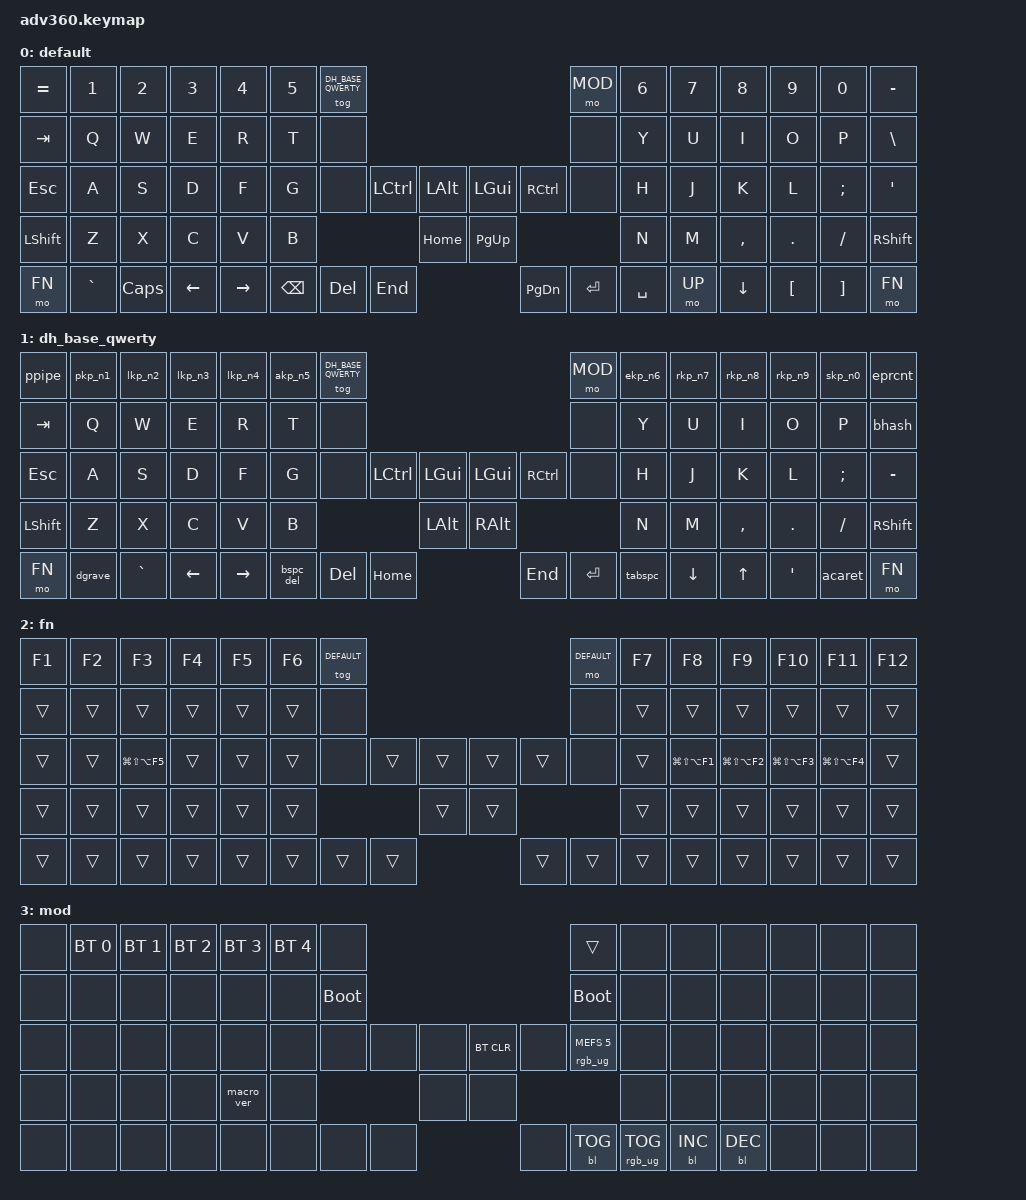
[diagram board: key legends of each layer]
#include <behaviors.dtsi>
#include <dt-bindings/zmk/keys.h>
#include <dt-bindings/zmk/bt.h>
#include <dt-bindings/zmk/rgb.h>
#include <dt-bindings/zmk/backlight.h>

#define DEFAULT 0
#define DH_BASE_QWERTY 1
#define FN 2
#define MOD 3

#define KEYS_LEFT 0 1 2 3 4 5 6 \
                  14 15 16 17 18 19 20 \
                  28 29 30 31 32 33 34 \
                  46 47 48 49 50 51 \
                  66 67 68 69 70

#define KEYS_RIGHT 7 8 9 10 11 12 13 \
                   21 22 23 24 25 26 27 \
                   39 40 41 42 43 44 45 \
                   60 61 62 63 64 65 \
                   77 78 79 80 81

#define THUMBS_LEFT 35 36 54 71 72 73

#define THUMBS_RIGHT 37 38 57 74 75 76

#define THUMBS THUMBS_LEFT THUMBS_RIGHT

/ {
    behaviors {
      #include "macros.dtsi"
      #include "version.dtsi"
      #ifndef VERSION_MACRO
      macro_ver: macro_ver {
        compatible = "zmk,behavior-macro";
        #binding-cells = <0>;
        bindings = <&kp RET>;
      };
      #endif

/* -- ` or | */
      gpipe: grave_pipe {
          compatible = "zmk,behavior-mod-morph";
          #binding-cells = <0>;
          bindings = <&kp GRAVE>, <&kp PIPE>;
          mods = <(MOD_LGUI|MOD_LSFT|MOD_RGUI|MOD_RSFT)>;
      };

/* -- | or | */
      ppipe: pipe_pipe {
          compatible = "zmk,behavior-mod-morph";
          #binding-cells = <0>;
          bindings = <&kp PIPE>, <&kp PIPE>;
          mods = <(MOD_LGUI|MOD_LSFT|MOD_RGUI|MOD_RSFT)>;
      };

/* -- + or 1 */
      pkp_n1: plus_kp_n1 {
          compatible = "zmk,behavior-mod-morph";
          #binding-cells = <0>;
          bindings = <&kp PLUS>, <&kp N1>;
          mods = <(MOD_LGUI|MOD_LSFT|MOD_RGUI|MOD_RSFT)>;
      };

/* -- [ or 2 */
      lkp_n2: left_bracket_kp_n2 {
          compatible = "zmk,behavior-mod-morph";
          #binding-cells = <0>;
          bindings = <&kp LEFT_BRACKET>, <&kp N2>;
          mods = <(MOD_LGUI|MOD_LSFT|MOD_RGUI|MOD_RSFT)>;
      };

/* -- { or 3 */
      lkp_n3: left_brace_kp_n3 {
          compatible = "zmk,behavior-mod-morph";
          #binding-cells = <0>;
          bindings = <&kp LEFT_BRACE>, <&kp N3>;
          mods = <(MOD_LGUI|MOD_LSFT|MOD_RGUI|MOD_RSFT)>;
      };

/* -- ( or 4 */
      lkp_n4: left_parenthesis_kp_n4 {
          compatible = "zmk,behavior-mod-morph";
          #binding-cells = <0>;
          bindings = <&kp LEFT_PARENTHESIS>, <&kp N4>;
          mods = <(MOD_LGUI|MOD_LSFT|MOD_RGUI|MOD_RSFT)>;
      };

/* -- & or 5 */
      akp_n5: amps_kp_n5 {
          compatible = "zmk,behavior-mod-morph";
          #binding-cells = <0>;
          bindings = <&kp AMPS>, <&kp N5>;
          mods = <(MOD_LGUI|MOD_LSFT|MOD_RGUI|MOD_RSFT)>;
      };

/* -- = or 6 */
      ekp_n6: equal_kp_n6 {
          compatible = "zmk,behavior-mod-morph";
          #binding-cells = <0>;
          bindings = <&kp EQUAL>, <&kp N6>;
          mods = <(MOD_LGUI|MOD_LSFT|MOD_RGUI|MOD_RSFT)>;
      };

/* -- ) or 7 */
      rkp_n7: right_parenthesis_kp_n7 {
          compatible = "zmk,behavior-mod-morph";
          #binding-cells = <0>;
          bindings = <&kp RIGHT_PARENTHESIS>, <&kp N7>;
          mods = <(MOD_LGUI|MOD_LSFT|MOD_RGUI|MOD_RSFT)>;
      };

/* -- } or 8 */
      rkp_n8: right_brace_kp_n8 {
          compatible = "zmk,behavior-mod-morph";
          #binding-cells = <0>;
          bindings = <&kp RIGHT_BRACE>, <&kp N8>;
          mods = <(MOD_LGUI|MOD_LSFT|MOD_RGUI|MOD_RSFT)>;
      };

/* -- ] or 9 */
      rkp_n9: right_bracket_kp_n9 {
          compatible = "zmk,behavior-mod-morph";
          #binding-cells = <0>;
          bindings = <&kp RIGHT_BRACKET>, <&kp N9>;
          mods = <(MOD_LGUI|MOD_LSFT|MOD_RGUI|MOD_RSFT)>;
      };

/* -- * or 0 */
      skp_n0: star_kp_n0 {
          compatible = "zmk,behavior-mod-morph";
          #binding-cells = <0>;
          bindings = <&kp STAR>, <&kp N0>;
          mods = <(MOD_LGUI|MOD_LSFT|MOD_RGUI|MOD_RSFT)>;
      };

/* -- ! or % */
      eprcnt: excl_prcnt {
          compatible = "zmk,behavior-mod-morph";
          #binding-cells = <0>;
          bindings = <&kp EXCL>, <&kp PRCNT>;
          mods = <(MOD_LGUI|MOD_LSFT|MOD_RGUI|MOD_RSFT)>;
      };

/* -- $ or ` */
      dgrave: dllr_grave {
          compatible = "zmk,behavior-mod-morph";
          #binding-cells = <0>;
          bindings = <&kp DLLR>, <&kp GRAVE>;
          mods = <(MOD_LGUI|MOD_LSFT|MOD_RGUI|MOD_RSFT)>;
      };

/* -- ` or ` */
      ggrave: grave_grave {
          compatible = "zmk,behavior-mod-morph";
          #binding-cells = <0>;
          bindings = <&kp GRAVE>, <&kp GRAVE>;
          mods = <(MOD_LGUI|MOD_LSFT|MOD_RGUI|MOD_RSFT)>;
      };

/* -- \ or # */
      bhash: bslh_hash {
          compatible = "zmk,behavior-mod-morph";
          #binding-cells = <0>;
          bindings = <&kp BSLH>, <&kp HASH>;
          mods = <(MOD_LGUI|MOD_LSFT|MOD_RGUI|MOD_RSFT)>;
      };

/* -- @ or ^ */
      acaret: at_caret {
          compatible = "zmk,behavior-mod-morph";
          #binding-cells = <0>;
          bindings = <&kp AT>, <&kp CARET>;
          mods = <(MOD_LGUI|MOD_LSFT|MOD_RGUI|MOD_RSFT)>;
      };

/* -- quote or left arrow */
      aposleft: apos_left {
          compatible = "zmk,behavior-mod-morph";
          #binding-cells = <0>;
          bindings = <&kp APOS>, <&kp LEFT>;
          mods = <(MOD_LGUI|MOD_LSFT|MOD_RGUI|MOD_RSFT)>;
      };

/* -- alt or right arrow */
      altright: alt_right {
          compatible = "zmk,behavior-mod-morph";
          #binding-cells = <0>;
          bindings = <&kp LALT>, <&kp RIGHT>;
          mods = <(MOD_LSFT|MOD_RSFT)>;
      };


/* LEFT_SHIFT + BACKSPACE into DELETE, and morphs RIGHT_SHIFT + BACKSPACE into RIGHT_SHIFT + DELETE. */
        bspc_del: backspace_delete {
            compatible = "zmk,behavior-mod-morph";
            #binding-cells = <0>;
            bindings = <&kp BACKSPACE>, <&kp DELETE>;
            mods = <(MOD_LSFT|MOD_RSFT)>;
            keep-mods = <(MOD_RSFT)>;
        };

/* LEFT_SHIFT + SPACE into TAB, SPACE into SPACE */
        tabspc: tab_spc {
            compatible = "zmk,behavior-mod-morph";
            #binding-cells = <0>;
            bindings = <&kp SPACE>, <&kp TAB>;
            mods = <(MOD_LSFT)>;
        };

      hm: homerow_mods {
          compatible = "zmk,behavior-hold-tap";
          label = "HOMEROW_MODS";
          #binding-cells = <2>;
          tapping-term-ms = <150>;
          quick_tap_ms = <0>;
          #flavor = "tap-preferred";
          flavor = "balanced";
          bindings = <&kp>, <&kp>;
      };

      hm_l: homerow_mods_left {
          compatible = "zmk,behavior-hold-tap";
          label = "HOMEROW_MODS_LEFT";
          #binding-cells = <2>;
          tapping-term-ms = <150>;
          quick_tap_ms = <0>;
          flavor = "tap-preferred";
          bindings = <&kp>, <&kp>;
          hold-trigger-key-positions = <KEYS_RIGHT THUMBS>;
      };

      hm_r: homerow_mods_right {
          compatible = "zmk,behavior-hold-tap";
          label = "HOMEROW_MODS_RIGHT";
          #binding-cells = <2>;
          tapping-term-ms = <150>;
          quick_tap_ms = <0>;
          flavor = "tap-preferred";
          bindings = <&kp>, <&kp>;
          hold-trigger-key-positions = <KEYS_LEFT THUMBS>;
      };
    };

  keymap {
    compatible = "zmk,keymap";

    default {
      bindings = <
        &kp EQUAL &kp N1    &kp N2   &kp N3   &kp N4     &kp N5 &tog DH_BASE_QWERTY                                                              &mo MOD   &kp N6    &kp N7    &kp N8    &kp N9   &kp N0   &kp MINUS
        &kp TAB   &kp Q     &kp W    &kp E    &kp R      &kp T  &none                                                                            &none     &kp Y     &kp U     &kp I     &kp O    &kp P    &kp BSLH
        &kp ESC   &kp A     &kp S    &kp D    &kp F      &kp G  &none                     &kp LCTRL &kp LALT &kp LGUI  &kp RCTRL                 &none     &kp H     &kp J     &kp K     &kp L    &kp SEMI &kp SQT
        &kp LSHFT &kp Z     &kp X    &kp C    &kp V      &kp B                                      &kp HOME &kp PG_UP                                     &kp N     &kp M     &kp COMMA &kp DOT  &kp FSLH &kp RSHFT
        &mo FN    &kp GRAVE &kp CAPS &kp LEFT &kp RIGHT                           &kp BSPC &kp DEL  &kp END  &kp PG_DN &kp ENTER &kp SPACE                           &mo UP    &kp DOWN  &kp LBKT &kp RBKT &mo FN
      >;
    };

    dh_base_qwerty {
      bindings = <
        &ppipe          &pkp_n1             &lkp_n2             &lkp_n3         &lkp_n4       &akp_n5        &tog DH_BASE_QWERTY                                                                  &mo MOD         &ekp_n6           &rkp_n7               &rkp_n8               &rkp_n9       &skp_n0     &eprcnt
        &kp TAB         &kp Q               &kp W               &kp E           &kp R         &kp T          &none                                                                                &none           &kp Y             &kp U                 &kp I                 &kp O         &kp P       &bhash
        &kp ESC         &kp A               &kp S               &kp D           &kp F         &kp G          &none                       &kp LCTRL  &kp LGUI  &kp LGUI  &kp RCTRL                 &none           &kp H             &kp J                 &kp K                 &kp L         &kp SEMI    &kp MINUS
        &kp LSHFT       &kp Z               &kp X               &kp C           &kp V         &kp B                                                 &kp LALT  &kp RALT                                            &kp N             &kp M                 &kp COMMA             &kp DOT       &kp FSLH    &kp RSHFT
        &mo FN          &dgrave             &kp GRAVE           &kp LEFT        &kp RIGHT                                       &bspc_del &kp DEL   &kp HOME  &kp END   &kp ENTER &tabspc                                           &kp DOWN                &kp UP              &kp APOS      &acaret     &mo FN
      >;
    };

    /* dh_base_dvorak { */
    /*   bindings = < */
    /*     &ppipe    &pkp_n1     &lkp_n2   &lkp_n3  &lkp_n4    &akp_n5 &tog &none                                                                         &mo MOD       &ekp_n6     &rkp_n7     &rkp_n8     &rkp_n9     &skp_n0   &eprcnt */
    /*     &kp TAB   &kp SEMI    &kp COMMA &kp DOT  &kp P      &kp Y   &tog DH_BASE_DVORAK                                                                          &none       &kp F       &kp G       &kp C       &kp R       &kp L     &bhash */
    /*     &kp ESC   &kp A       &kp O     &kp E    &kp U      &kp I   &none               &kp LCTRL   &kp LALT   &kp LGUI    &kp RCTRL                &none       &kp D       &kp H       &kp T       &kp N       &kp S     &kp MINUS */
    /*     &kp LSHFT &kp APOS    &kp Q     &kp J    &kp K      &kp X                                   &kp HOME   &kp PG_UP                                        &kp B       &kp M       &kp W       &kp V       &kp Z     &kp RSHFT */
    /*     &mo FN     &dgrave     &ggrave   &kp LEFT &kp RIGHT                    &kp BSPC  &kp DEL     &kp END    &kp PG_DN   &kp ENTER   &kp SPACE                            &mo 5       &kp 6       &kp FSLH    &acaret   &mo  FN */
    /*     >; */
    /* }; */

    fn {
      bindings = <
        &kp F1 &kp F2 &kp F3              &kp F4 &kp F5 &kp F6  &tog DEFAULT                                            &mo DEFAULT  &kp F7  &kp F8                  &kp F9                  &kp F10                 &kp F11             &kp F12
        &trans &trans &trans              &trans &trans &trans  &none                                                   &none        &trans  &trans                  &trans                  &trans                  &trans              &trans
        &trans &trans &kp LG(LS(LA(F5)))  &trans &trans &trans  &none                &trans &trans &trans &trans        &none        &trans  &kp LG(LS(LA(F1)))      &kp LG(LS(LA(F2)))      &kp LG(LS(LA(F3)))      &kp LG(LS(LA(F4)))  &trans
        &trans &trans &trans              &trans &trans &trans                              &trans &trans                            &trans  &trans                  &trans                  &trans                  &trans              &trans
        &trans &trans &trans              &trans &trans                       &trans &trans &trans &trans &trans &trans                      &trans                  &trans                  &trans                  &trans              &trans
      >;
    };

    mod {
      bindings = <
        &none &bt BT_SEL 0 &bt BT_SEL 1 &bt BT_SEL 2 &bt BT_SEL 3 &bt BT_SEL 4 &none                                                                     &trans                 &none        &none        &none        &none &none &none
        &none &none        &none        &none        &none        &none        &bootloader                                                               &bootloader            &none        &none        &none        &none &none &none
        &none &none        &none        &none        &none        &none        &none                   &none &none &bt BT_CLR &none                      &rgb_ug RGB_MEFS_CMD 5 &none        &none        &none        &none &none &none
        &none &none        &none        &none        &macro_ver   &none                                      &none &none                                                        &none        &none        &none        &none &none &none
        &none &none        &none        &none        &none                                       &none &none &none &none      &bl BL_TOG &rgb_ug RGB_TOG                                     &bl BL_INC   &bl BL_DEC   &none &none &none
      >;
    };

    /* dh_mod_a { */
    /*   bindings = < */
    /*     &trans                  &trans            &trans                &trans                  &trans                 &trans               &trans                                                               &trans      &trans      &trans      &trans      &trans      &trans      &trans */
    /*     &trans                  &trans            &trans                &trans                  &trans                 &trans               &trans                                                               &trans      &trans      &trans      &trans      &trans      &trans      &trans */
    /*     &trans                  &trans            &trans                &trans                  &trans                 &trans               &trans                                                               &trans      &trans      &trans      &trans      &trans      &trans      &trans */
    /*     &trans                  &trans            &trans                &trans                  &trans                 &trans                                          &trans &trans                                         &trans      &trans      &trans      &trans      &trans      &trans */
    /*     &trans                  &trans            &trans                &trans                  &trans                                                   &trans &trans &trans &trans &trans &trans                                       &trans      &trans      &trans      &trans      &trans */
    /*   >; */
    /* }; */

    /* dh_mod_b { */
    /*   bindings = < */
    /*     &trans                  &kp N1            &kp N2                &kp N3                  &kp N4                 &kp N5               &trans                                                               &kp N6      &kp N7      &kp N8      &kp N9      &kp N0      &trans      &trans */
    /*     &trans                  &trans            &trans                &trans                  &trans                 &trans               &trans                                                               &trans      &trans      &kp KP_N7   &kp KP_N8   &kp KP_N9   &trans      &trans */
    /*     &trans                  &trans            &trans                &trans                  &trans                 &trans               &trans                                                               &trans      &trans      &kp KP_N4   &kp KP_N5   &kp KP_N6   &trans      &trans */
    /*    &trans                  &trans            &trans                &trans                  &trans                 &trans                                          &trans &trans                                         &trans      &kp KP_N1   &kp KP_N2   &kp KP_N3   &trans      &trans */
    /*     &trans                  &trans            &trans                &trans                  &trans                                                   &trans &trans &trans &trans &trans &trans                                       &kp KP_N0   &trans      &trans      &trans      &trans */
    /*   >; */
    /* }; */
  };
};
